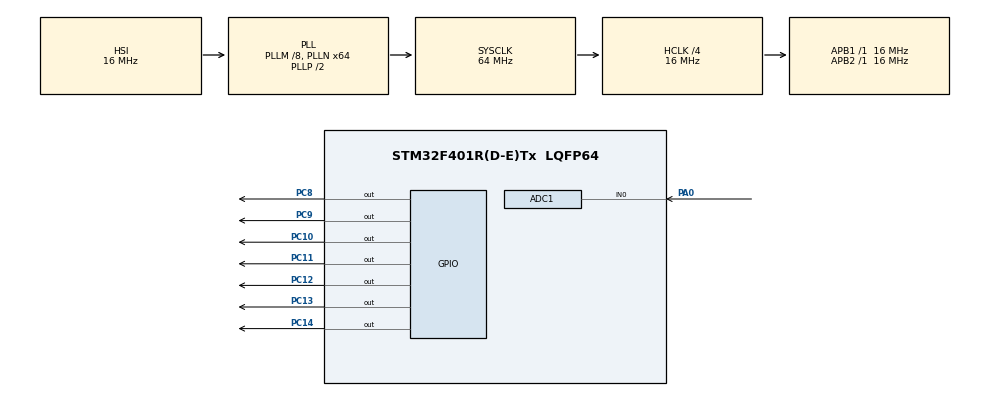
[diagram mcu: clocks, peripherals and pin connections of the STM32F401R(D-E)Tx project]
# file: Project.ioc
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ADC1.Channel-0\#ChannelRegularConversion=ADC_CHANNEL_0
ADC1.ContinuousConvMode=ENABLE
ADC1.ExternalTrigConv=ADC_SOFTWARE_START
ADC1.NbrOfConversionFlag=1
ADC1.Rank-0\#ChannelRegularConversion=1
ADC1.SamplingTime-0\#ChannelRegularConversion=ADC_SAMPLETIME_3CYCLES
ADC1.master=1
Mcu.Family=STM32F4
Mcu.Name=STM32F401R(D-E)Tx
Mcu.Package=LQFP64
NVIC.PriorityGroup=NVIC_PRIORITYGROUP_4
NVIC.TIM3_IRQn=true\:0\:0\:false\:false\:true\:true\:true
PA0-WKUP.Signal=ADCx_IN0
PC10.Signal=GPIO_Output
PC11.Signal=GPIO_Output
PC12.Signal=GPIO_Output
PC13-ANTI_TAMP.Signal=GPIO_Output
PC14-OSC32_IN.Signal=GPIO_Output
PC8.Signal=GPIO_Output
PC9.Signal=GPIO_Output
ProjectManager.HeapSize=0x200
ProjectManager.StackSize=0x400
ProjectManager.TargetToolchain=MDK-ARM V5.32
RCC.48MHZClocksFreq_Value=32000000
RCC.AHBCLKDivider=RCC_SYSCLK_DIV4
RCC.AHBFreq_Value=16000000
RCC.APB1Freq_Value=16000000
RCC.APB1TimFreq_Value=16000000
RCC.APB2Freq_Value=16000000
RCC.APB2TimFreq_Value=16000000
RCC.CortexFreq_Value=16000000
RCC.HCLKFreq_Value=16000000
RCC.HSE_VALUE=25000000
RCC.HSI_VALUE=16000000
RCC.LSE_VALUE=32768
RCC.PLLM=8
RCC.PLLN=64
RCC.SYSCLKFreq_VALUE=64000000
RCC.SYSCLKSource=RCC_SYSCLKSOURCE_PLLCLK
RCC.VCOOutputFreq_Value=128000000
SH.ADCx_IN0.0=ADC1_IN0,IN0
TIM3.AutoReloadPreload=TIM_AUTORELOAD_PRELOAD_ENABLE
TIM3.Period=249
VP_TIM3_VS_ClockSourceINT.Mode=Internal
board=custom

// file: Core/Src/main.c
/* USER CODE BEGIN Header */
/**
  ******************************************************************************
  * @file           : main.c
  * @brief          : Main program body
  ******************************************************************************
  * @attention
  *
  * <h2><center>&copy; Copyright (c) 2022 STMicroelectronics.
  * All rights reserved.</center></h2>
  *
  * This software component is licensed by ST under BSD 3-Clause license,
  * the "License"; You may not use this file except in compliance with the
  * License. You may obtain a copy of the License at:
  *                        opensource.org/licenses/BSD-3-Clause
  *
  ******************************************************************************
  */
/* USER CODE END Header */
#include "main.h"

/* USER CODE BEGIN Includes */
#include <math.h>
/* USER CODE END Includes */

/* USER CODE BEGIN PD */
const uint16_t Sampelling_Rate = 8000;
uint16_t Sampelling_Data[5000];
const uint16_t Window_Lenth = 500;
/* USER CODE END PD */

ADC_HandleTypeDef hadc1;

TIM_HandleTypeDef htim3;

/* USER CODE BEGIN PV */

// ROW
const uint32_t k697 = (uint32_t)(0.5 + ((Window_Lenth * 697) / Sampelling_Rate));
const uint32_t k_mul697 = (uint32_t)(0.5 + ((Window_Lenth * 697 * 2) / Sampelling_Rate));

const uint32_t k770 = (uint32_t)(0.5 + ((Window_Lenth * 770) / Sampelling_Rate));
const uint32_t k_mul770 = (uint32_t)(0.5 + ((Window_Lenth * 770 * 2) / Sampelling_Rate));

const uint32_t k852 = (uint32_t)(0.5 + ((Window_Lenth * 852) / Sampelling_Rate));
const uint32_t k_mul852 = (uint32_t)(0.5 + ((Window_Lenth * 852 * 2) / Sampelling_Rate));

const uint32_t k941 = (uint32_t)(0.5 + ((Window_Lenth * 941) / Sampelling_Rate));
const uint32_t k_mul941 = (uint32_t)(0.5 + ((Window_Lenth * 941 * 2) / Sampelling_Rate));

// COL
const uint32_t k1209 = (uint32_t)(0.5 + ((Window_Lenth * 1209) / Sampelling_Rate));
const uint32_t k_mul1209 = (uint32_t)(0.5 + ((Window_Lenth * 1209 * 2) / Sampelling_Rate));

const uint32_t k1336 = (uint32_t)(0.5 + ((Window_Lenth * 1336) / Sampelling_Rate));
const uint32_t k_mul1336 = (uint32_t)(0.5 + ((Window_Lenth * 1336 * 2) / Sampelling_Rate));

const uint32_t k1477 = (uint32_t)(0.5 + ((Window_Lenth * 1477) / Sampelling_Rate));
const uint32_t k_mul1477 = (uint32_t)(0.5 + ((Window_Lenth * 1477 * 2) / Sampelling_Rate));

const uint32_t k1633 = (uint32_t)(0.5 + ((Window_Lenth * 1633) / Sampelling_Rate));
const uint32_t k_mul1633 = (uint32_t)(0.5 + ((Window_Lenth * 1633 * 2) / Sampelling_Rate));

// DEFINE COEFK
// ROW
float coef_k697, coef_k_mul697;
float coef_k770, coef_k_mul770;
float coef_k852, coef_k_mul852;
float coef_k941, coef_k_mul941;

//COL
float coef_k1209, coef_k_mul1209;
float coef_k1336, coef_k_mul1336;
float coef_k1477, coef_k_mul1477;
float coef_k1633, coef_k_mul1633;

uint32_t Index = 0;

/* USER CODE END PV */

void SystemClock_Config(void);
static void MX_GPIO_Init(void);
static void MX_ADC1_Init(void);
static void MX_TIM3_Init(void);

/* USER CODE BEGIN PFP */
uint8_t Seven_Segment_Decoder(uint8_t num);
void goertzel();
/* USER CODE END PFP */

int main(void)
{

  /* MCU Configuration--------------------------------------------------------*/

  /* Reset of all peripherals, Initializes the Flash interface and the Systick. */
  HAL_Init();

  /* Configure the system clock */
  SystemClock_Config();

  /* Initialize all configured peripherals */
  MX_GPIO_Init();
  MX_ADC1_Init();
  MX_TIM3_Init();
  /* USER CODE BEGIN 2 */

	coef_k697 = 2*cos((2*3.14159265359*(float)k697)/(float)Window_Lenth);
	coef_k770 = 2*cos((2*3.14159265359*(float)k770)/(float)Window_Lenth);
	coef_k852  = 2*cos((2*3.14159265359*(float)k852)/(float)Window_Lenth);
	coef_k941 = 2*cos((2*3.14159265359*(float)k941)/(float)Window_Lenth);
	coef_k1209 = 2*cos((2*3.14159265359*(float)k1209)/(float)Window_Lenth);
	coef_k1336 = 2*cos((2*3.14159265359*(float)k1336)/(float)Window_Lenth);
	coef_k1477 = 2*cos((2*3.14159265359*(float)k1477)/(float)Window_Lenth);
	coef_k1633 = 2*cos((2*3.14159265359*(float)k1633)/(float)Window_Lenth);

	coef_k_mul697 = 2*cos((2*3.14159265359*(float)k_mul697)/(float)Window_Lenth);
	coef_k_mul770 = 2*cos((2*3.14159265359*(float)k_mul770)/(float)Window_Lenth);
	coef_k_mul852 = 2*cos((2*3.14159265359*(float)k_mul852)/(float)Window_Lenth);
	coef_k_mul941 = 2*cos((2*3.14159265359*(float)k_mul941)/(float)Window_Lenth);
	coef_k_mul1209 = 2*cos((2*3.14159265359*(float)k_mul1209)/(float)Window_Lenth);
	coef_k_mul1336 = 2*cos((2*3.14159265359*(float)k_mul1336)/(float)Window_Lenth);
	coef_k_mul1477 = 2*cos((2*3.14159265359*(float)k_mul1477)/(float)Window_Lenth);
	coef_k_mul1633 = 2*cos((2*3.14159265359*(float)k_mul1633)/(float)Window_Lenth);

	HAL_TIM_Base_Start_IT(&htim3);

  /* USER CODE END 2 */
  /* Infinite loop */
  while (1)
  {

  }
}

void SystemClock_Config(void)
{
  RCC_OscInitTypeDef RCC_OscInitStruct = {0};
  RCC_ClkInitTypeDef RCC_ClkInitStruct = {0};

  /** Configure the main internal regulator output voltage
  */
  __HAL_RCC_PWR_CLK_ENABLE();
  __HAL_PWR_VOLTAGESCALING_CONFIG(PWR_REGULATOR_VOLTAGE_SCALE2);
  /** Initializes the RCC Oscillators according to the specified parameters
  * in the RCC_OscInitTypeDef structure.
  */
  RCC_OscInitStruct.OscillatorType = RCC_OSCILLATORTYPE_HSI;
  RCC_OscInitStruct.HSIState = RCC_HSI_ON;
  RCC_OscInitStruct.HSICalibrationValue = RCC_HSICALIBRATION_DEFAULT;
  RCC_OscInitStruct.PLL.PLLState = RCC_PLL_ON;
  RCC_OscInitStruct.PLL.PLLSource = RCC_PLLSOURCE_HSI;
  RCC_OscInitStruct.PLL.PLLM = 8;
  RCC_OscInitStruct.PLL.PLLN = 64;
  RCC_OscInitStruct.PLL.PLLP = RCC_PLLP_DIV2;
  RCC_OscInitStruct.PLL.PLLQ = 4;
  if (HAL_RCC_OscConfig(&RCC_OscInitStruct) != HAL_OK)
  {
    Error_Handler();
  }
  /** Initializes the CPU, AHB and APB buses clocks
  */
  RCC_ClkInitStruct.ClockType = RCC_CLOCKTYPE_HCLK|RCC_CLOCKTYPE_SYSCLK
                              |RCC_CLOCKTYPE_PCLK1|RCC_CLOCKTYPE_PCLK2;
  RCC_ClkInitStruct.SYSCLKSource = RCC_SYSCLKSOURCE_PLLCLK;
  RCC_ClkInitStruct.AHBCLKDivider = RCC_SYSCLK_DIV4;
  RCC_ClkInitStruct.APB1CLKDivider = RCC_HCLK_DIV1;
  RCC_ClkInitStruct.APB2CLKDivider = RCC_HCLK_DIV1;

  if (HAL_RCC_ClockConfig(&RCC_ClkInitStruct, FLASH_LATENCY_0) != HAL_OK)
  {
    Error_Handler();
  }
}

static void MX_ADC1_Init(void)
{

  ADC_ChannelConfTypeDef sConfig = {0};

  /** Configure the global features of the ADC (Clock, Resolution, Data Alignment and number of conversion)
  */
  hadc1.Instance = ADC1;
  hadc1.Init.ClockPrescaler = ADC_CLOCK_SYNC_PCLK_DIV2;
  hadc1.Init.Resolution = ADC_RESOLUTION_12B;
  hadc1.Init.ScanConvMode = DISABLE;
  hadc1.Init.ContinuousConvMode = ENABLE;
  hadc1.Init.DiscontinuousConvMode = DISABLE;
  hadc1.Init.ExternalTrigConvEdge = ADC_EXTERNALTRIGCONVEDGE_NONE;
  hadc1.Init.ExternalTrigConv = ADC_SOFTWARE_START;
  hadc1.Init.DataAlign = ADC_DATAALIGN_RIGHT;
  hadc1.Init.NbrOfConversion = 1;
  hadc1.Init.DMAContinuousRequests = DISABLE;
  hadc1.Init.EOCSelection = ADC_EOC_SINGLE_CONV;
  if (HAL_ADC_Init(&hadc1) != HAL_OK)
  {
    Error_Handler();
  }
  /** Configure for the selected ADC regular channel its corresponding rank in the sequencer and its sample time.
  */
  sConfig.Channel = ADC_CHANNEL_0;
  sConfig.Rank = 1;
  sConfig.SamplingTime = ADC_SAMPLETIME_3CYCLES;
  if (HAL_ADC_ConfigChannel(&hadc1, &sConfig) != HAL_OK)
  {
    Error_Handler();
  }

}

static void MX_TIM3_Init(void)
{

  TIM_ClockConfigTypeDef sClockSourceConfig = {0};
  TIM_MasterConfigTypeDef sMasterConfig = {0};

  htim3.Instance = TIM3;
  htim3.Init.Prescaler = 0;
  htim3.Init.CounterMode = TIM_COUNTERMODE_UP;
  htim3.Init.Period = 249;
  htim3.Init.ClockDivision = TIM_CLOCKDIVISION_DIV1;
  htim3.Init.AutoReloadPreload = TIM_AUTORELOAD_PRELOAD_ENABLE;
  if (HAL_TIM_Base_Init(&htim3) != HAL_OK)
  {
    Error_Handler();
  }
  sClockSourceConfig.ClockSource = TIM_CLOCKSOURCE_INTERNAL;
  if (HAL_TIM_ConfigClockSource(&htim3, &sClockSourceConfig) != HAL_OK)
  {
    Error_Handler();
  }
  sMasterConfig.MasterOutputTrigger = TIM_TRGO_RESET;
  sMasterConfig.MasterSlaveMode = TIM_MASTERSLAVEMODE_DISABLE;
  if (HAL_TIMEx_MasterConfigSynchronization(&htim3, &sMasterConfig) != HAL_OK)
  {
    Error_Handler();
  }

}

static void MX_GPIO_Init(void)
{
  GPIO_InitTypeDef GPIO_InitStruct = {0};

  /* GPIO Ports Clock Enable */
  __HAL_RCC_GPIOC_CLK_ENABLE();
  __HAL_RCC_GPIOA_CLK_ENABLE();

  /*Configure GPIO pin Output Level */
  HAL_GPIO_WritePin(GPIOC, GPIO_PIN_13|GPIO_PIN_14|GPIO_PIN_8|GPIO_PIN_9
                          |GPIO_PIN_10|GPIO_PIN_11|GPIO_PIN_12, GPIO_PIN_RESET);

  /*Configure GPIO pins : PC13 PC14 PC8 PC9
                           PC10 PC11 PC12 */
  GPIO_InitStruct.Pin = GPIO_PIN_13|GPIO_PIN_14|GPIO_PIN_8|GPIO_PIN_9
                          |GPIO_PIN_10|GPIO_PIN_11|GPIO_PIN_12;
  GPIO_InitStruct.Mode = GPIO_MODE_OUTPUT_PP;
  GPIO_InitStruct.Pull = GPIO_NOPULL;
  GPIO_InitStruct.Speed = GPIO_SPEED_FREQ_LOW;
  HAL_GPIO_Init(GPIOC, &GPIO_InitStruct);

}

/* USER CODE BEGIN 4 */
uint8_t Seven_Segment_Decoder(uint8_t num)
{
  switch (num)
  {
  case 0:
    return 0x7E;
  case 1:
    return 0x30;
  case 2:
    return 0x6D;
  case 3:
    return 0x79;
  case 4:
    return 0x33;
  case 5:
    return 0x5B;
  case 6:
    return 0x5F;
  case 7:
    return 0x70;
  case 8:
    return 0x7F;
  case 9:
    return 0x7B;
  case 10:
    return 0x77;
  case 11:
    return 0x1F;
  case 12:
    return 0x4E;
  case 13:
    return 0x3D;
  case 14:
    return 0x01;
  case 15:
    return 0x1D;
  }
  return 0;
}

uint16_t Get_Analog_Value()
{
	HAL_ADC_Start(&hadc1);
  HAL_ADC_PollForConversion(&hadc1, HAL_MAX_DELAY);
	uint16_t res = HAL_ADC_GetValue(&hadc1);
	HAL_ADC_Stop(&hadc1);
	return res;
}

void HAL_TIM_PeriodElapsedCallback(TIM_HandleTypeDef *htim)
{
  Sampelling_Data[Index] = Get_Analog_Value();

  if(Index % Window_Lenth == Window_Lenth - 1)
		goertzel();

  Index = Index == 4999 ? 0 : Index + 1;
}

float Power(float coef)
{
  float Q0, Q1, Q2;
  Q2 = 0;
  Q1 = 0;
  Q0 = 0;

  for(int i = Index - Window_Lenth + 1; i <= Index; i++){
    Q2 = Q1;
    Q1 = Q0;
    Q0 = (coef * Q1) - Q2 + (float)Sampelling_Data[i];
  }
  return Q1 * Q1 + Q2 * Q2 - (coef * Q1 * Q2);
}

void goertzel()
{
  float myPowers_row[4];
  float myPowers_col[4];
  uint8_t ROW_MAX = 0, COL_MAX = 0;

  myPowers_row[0] = Power(coef_k697) + Power(coef_k_mul697);
  myPowers_row[1] = Power(coef_k770) + Power(coef_k_mul770);
  myPowers_row[2] = Power(coef_k852) + Power(coef_k_mul852);
  myPowers_row[3] = Power(coef_k941) + Power(coef_k_mul941);
  for(int j = 0; j < 3; j++)
    if(myPowers_row[j] <= myPowers_row[j + 1])
      ROW_MAX = j + 1;

  myPowers_col[0] = Power(coef_k1209) + Power(coef_k_mul1209);
  myPowers_col[1] = Power(coef_k1336) + Power(coef_k_mul1336);
  myPowers_col[2] = Power(coef_k1477) + Power(coef_k_mul1477);
  myPowers_col[3] = Power(coef_k1633) + Power(coef_k_mul1633);
  for(int j =0; j < 3; j++)
    if(myPowers_col[j] <= myPowers_col[j + 1])
      COL_MAX = j + 1;

  if(ROW_MAX == 0 && COL_MAX == 0)
      GPIOC->ODR = Seven_Segment_Decoder(1)<<8;
  if(ROW_MAX == 0 && COL_MAX == 1)
      GPIOC->ODR = Seven_Segment_Decoder(2)<<8;
  if(ROW_MAX == 0 && COL_MAX == 2)
      GPIOC->ODR = Seven_Segment_Decoder(3)<<8;
  if(ROW_MAX == 0 && COL_MAX == 3)
      GPIOC->ODR = Seven_Segment_Decoder(10)<<8;

  if(ROW_MAX == 1 && COL_MAX == 0)
      GPIOC->ODR = Seven_Segment_Decoder(4)<<8;
  if(ROW_MAX == 1 && COL_MAX == 1)
      GPIOC->ODR = Seven_Segment_Decoder(5)<<8;
  if(ROW_MAX == 1 && COL_MAX == 2)
      GPIOC->ODR = Seven_Segment_Decoder(6)<<8;
  if(ROW_MAX == 1 && COL_MAX == 3)
      GPIOC->ODR = Seven_Segment_Decoder(11)<<8;

  if(ROW_MAX == 2 && COL_MAX == 0)
      GPIOC->ODR = Seven_Segment_Decoder(7)<<8;
  if(ROW_MAX == 2 && COL_MAX == 1)
      GPIOC->ODR = Seven_Segment_Decoder(8)<<8;
  if(ROW_MAX == 2 && COL_MAX == 2)
      GPIOC->ODR = Seven_Segment_Decoder(9)<<8;
  if(ROW_MAX == 2 && COL_MAX == 3)
      GPIOC->ODR = Seven_Segment_Decoder(12)<<8;

  if(ROW_MAX == 3 && COL_MAX == 0)
      GPIOC->ODR = Seven_Segment_Decoder(14)<<8;
  if(ROW_MAX == 3 && COL_MAX == 1)
      GPIOC->ODR = Seven_Segment_Decoder(0)<<8;
  if(ROW_MAX == 3 && COL_MAX == 2)
      GPIOC->ODR = Seven_Segment_Decoder(15)<<8;
  if(ROW_MAX == 3 && COL_MAX == 3)
      GPIOC->ODR = Seven_Segment_Decoder(13)<<8;
}
/* USER CODE END 4 */

void Error_Handler(void)
{
  __disable_irq();
  while (1)
  {
  }
}

/************************ (C) COPYRIGHT STMicroelectronics *****END OF FILE****/
